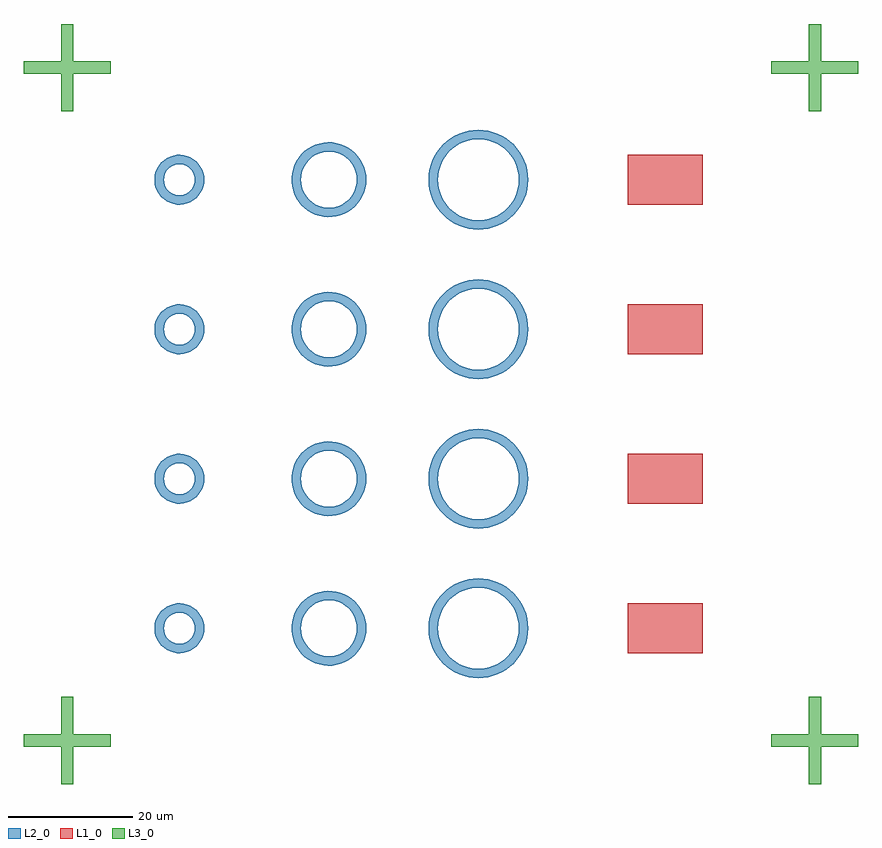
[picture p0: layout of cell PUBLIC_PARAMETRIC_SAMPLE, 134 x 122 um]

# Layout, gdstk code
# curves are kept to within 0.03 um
import gdstk
lib = gdstk.Library(unit=1e-6, precision=1e-11)
def R(c, l, rs):  # rectangles x0, y0, x1, y1
    for r in rs: c.add(gdstk.rectangle(r[:2], r[2:], *l))
def P(c, l, *ps):  # polygons
    for p in ps: c.add(gdstk.Polygon(p, *l))
L1_0 = (1, 0)
L2_0 = (2, 0)
L3_0 = (3, 0)

ring_r4 = lib.new_cell('RING_R4')
P(ring_r4, L2_0, [(0.6946,-3.9392),(1.2361,-3.8042),(1.7535,-3.5952),(2.2368,-3.3161),(2.6765,-2.9726),(3.0642,-2.5711),(3.3922,-2.1197),(3.6542,-1.6269),(3.845,-1.1025),(3.9611,-0.5567),(4,0),(3.9611,0.5567),(3.845,1.1025),(3.6542,1.6269),(3.3922,2.1197),(3.0642,2.5711),(2.6765,2.9726),(2.2368,3.3161),(1.7535,3.5952),(1.2361,3.8042),(0.6946,3.9392),(0.1396,3.9976),(-0.4181,3.9781),(-0.9677,3.8812),(-1.4984,3.7087),(-2,3.4641),(-2.4627,3.152),(-2.8774,2.7786),(-3.2361,2.3511),(-3.5318,1.8779),(-3.7588,1.3681),(-3.9126,0.8316),(-3.9903,0),(-2.5,0),(-2.462,0.4341),(-2.3492,0.855),(-2.1651,1.25),(-1.9151,1.607),(-1.607,1.9151),(-1.25,2.1651),(-0.855,2.3492),(-0.4341,2.462),(0,2.5),(0.4341,2.462),(0.855,2.3492),(1.25,2.1651),(1.607,1.9151),(1.9151,1.607),(2.1651,1.25),(2.3492,0.855),(2.462,0.4341),(2.5,0),(2.462,-0.4341),(2.3492,-0.855),(2.1651,-1.25),(1.9151,-1.607),(1.607,-1.9151),(1.25,-2.1651),(0.855,-2.3492),(0.4341,-2.462),(0,-2.5),(-0.4341,-2.462),(-0.855,-2.3492),(-1.25,-2.1651),(-1.607,-1.9151),(-1.9151,-1.607),(-2.1651,-1.25),(-2.3492,-0.855),(-2.462,-0.4341),(-2.5,0),(-3.9903,0),(-3.9903,-0.279),(-3.9126,-0.8316),(-3.7588,-1.3681),(-3.5318,-1.8779),(-3.2361,-2.3511),(-2.8774,-2.7786),(-2.4627,-3.152),(-2,-3.4641),(-1.4984,-3.7087),(-0.9677,-3.8812),(-0.4181,-3.9781),(0.1396,-3.9976)])

ring_r6 = lib.new_cell('RING_R6')
P(ring_r6, L2_0, [(0.5134,-5.978),(1.1915,-5.8805),(1.8541,-5.7063),(2.4925,-5.4578),(3.0984,-5.1381),(3.6639,-4.7514),(4.1816,-4.3028),(4.6448,-3.7981),(5.0475,-3.2438),(5.3844,-2.6473),(5.6511,-2.0163),(5.8441,-1.359),(5.9609,-0.6839),(6,0),(5.9609,0.6839),(5.8441,1.359),(5.6511,2.0163),(5.3844,2.6473),(5.0475,3.2438),(4.6448,3.7981),(4.1816,4.3028),(3.6639,4.7514),(3.0984,5.1381),(2.4925,5.4578),(1.8541,5.7063),(1.1915,5.8805),(0.5134,5.978),(-0.1713,5.9975),(-0.8539,5.9389),(-1.5253,5.8029),(-2.1768,5.5912),(-2.8,5.3066),(-3.3867,4.9528),(-3.9292,4.5345),(-4.4204,4.057),(-4.8541,3.5267),(-5.2245,2.9504),(-5.5267,2.3356),(-5.757,1.6904),(-5.9121,1.0231),(-5.9902,0),(-4.5,0),(-4.4615,0.5874),(-4.3467,1.1647),(-4.1575,1.7221),(-3.8971,2.25),(-3.5701,2.7394),(-3.182,3.182),(-2.7394,3.5701),(-2.25,3.8971),(-1.7221,4.1575),(-1.1647,4.3467),(-0.5874,4.4615),(0,4.5),(0.5874,4.4615),(1.1647,4.3467),(1.7221,4.1575),(2.25,3.8971),(2.7394,3.5701),(3.182,3.182),(3.5701,2.7394),(3.8971,2.25),(4.1575,1.7221),(4.3467,1.1647),(4.4615,0.5874),(4.5,0),(4.4615,-0.5874),(4.3467,-1.1647),(4.1575,-1.7221),(3.8971,-2.25),(3.5701,-2.7394),(3.182,-3.182),(2.7394,-3.5701),(2.25,-3.8971),(1.7221,-4.1575),(1.1647,-4.3467),(0.5874,-4.4615),(0,-4.5),(-0.5874,-4.4615),(-1.1647,-4.3467),(-1.7221,-4.1575),(-2.25,-3.8971),(-2.7394,-3.5701),(-3.182,-3.182),(-3.5701,-2.7394),(-3.8971,-2.25),(-4.1575,-1.7221),(-4.3467,-1.1647),(-4.4615,-0.5874),(-4.5,0),(-5.9902,0),(-5.9121,-1.0231),(-5.757,-1.6904),(-5.5267,-2.3356),(-5.2245,-2.9504),(-4.8541,-3.5267),(-4.4204,-4.057),(-3.9292,-4.5345),(-3.3867,-4.9528),(-2.8,-5.3066),(-2.1768,-5.5912),(-1.5253,-5.8029),(-0.8539,-5.9389),(-0.1713,-5.9975)])

ring_r8 = lib.new_cell('RING_R8')
P(ring_r8, L2_0, [(0.7841,-7.9615),(1.5607,-7.8463),(2.3223,-7.6555),(3.0615,-7.391),(3.7712,-7.0554),(4.4446,-6.6518),(5.0751,-6.1841),(5.6568,-5.6568),(6.1841,-5.0751),(6.6518,-4.4446),(7.0554,-3.7712),(7.391,-3.0615),(7.6555,-2.3223),(7.8463,-1.5607),(7.9615,-0.7841),(8,0),(7.9615,0.7841),(7.8463,1.5607),(7.6555,2.3223),(7.391,3.0615),(7.0554,3.7712),(6.6518,4.4446),(6.1841,5.0751),(5.6568,5.6568),(5.0751,6.1841),(4.4446,6.6518),(3.7712,7.0554),(3.0615,7.391),(2.3223,7.6555),(1.5607,7.8463),(0.7841,7.9615),(0,8),(-0.7841,7.9615),(-1.5607,7.8463),(-2.3223,7.6555),(-3.0615,7.391),(-3.7712,7.0554),(-4.4446,6.6518),(-5.0751,6.1841),(-5.6568,5.6568),(-6.1841,5.0751),(-6.6518,4.4446),(-7.0554,3.7712),(-7.391,3.0615),(-7.6555,2.3223),(-7.8463,1.5607),(-7.9615,0.7841),(-8,0),(-6.5,0),(-6.4619,0.7028),(-6.348,1.3973),(-6.1597,2.0755),(-5.8992,2.7293),(-5.5696,3.3511),(-5.1746,3.9336),(-4.719,4.47),(-4.208,4.954),(-3.6477,5.38),(-3.0446,5.7428),(-2.4059,6.0383),(-1.7389,6.2631),(-1.0516,6.4144),(-0.3519,6.4905),(0.3519,6.4905),(1.0516,6.4144),(1.7389,6.2631),(2.4059,6.0383),(3.0446,5.7428),(3.6477,5.38),(4.208,4.954),(4.719,4.47),(5.1746,3.9336),(5.5696,3.3511),(5.8992,2.7293),(6.1597,2.0755),(6.348,1.3973),(6.4619,0.7028),(6.5,0),(6.4619,-0.7028),(6.348,-1.3973),(6.1597,-2.0755),(5.8992,-2.7293),(5.5696,-3.3511),(5.1746,-3.9336),(4.719,-4.47),(4.208,-4.954),(3.6477,-5.38),(3.0446,-5.7428),(2.4059,-6.0383),(1.7389,-6.2631),(1.0516,-6.4144),(0.3519,-6.4905),(-0.3519,-6.4905),(-1.0516,-6.4144),(-1.7389,-6.2631),(-2.4059,-6.0383),(-3.0446,-5.7428),(-3.6477,-5.38),(-4.208,-4.954),(-4.719,-4.47),(-5.1746,-3.9336),(-5.5696,-3.3511),(-5.8992,-2.7293),(-6.1597,-2.0755),(-6.348,-1.3973),(-6.4619,-0.7028),(-6.5,0),(-8,0),(-7.9615,-0.7841),(-7.8463,-1.5607),(-7.6555,-2.3223),(-7.391,-3.0615),(-7.0554,-3.7712),(-6.6518,-4.4446),(-6.1841,-5.0751),(-5.6568,-5.6568),(-5.0751,-6.1841),(-4.4446,-6.6518),(-3.7712,-7.0554),(-3.0615,-7.391),(-2.3223,-7.6555),(-1.5607,-7.8463),(-0.7841,-7.9615),(0,-8)])

pad = lib.new_cell('PAD')
R(pad, L1_0, [(-6,-4,6,4)])

marker = lib.new_cell('MARKER')
R(marker, L3_0, [(-1,-7,1,7), (-7,-1,7,1)])

public_parametric_sample = lib.new_cell('PUBLIC_PARAMETRIC_SAMPLE')
public_parametric_sample.add(gdstk.Reference(ring_r4, (0,0)))
public_parametric_sample.add(gdstk.Reference(ring_r4, (0,24)))
public_parametric_sample.add(gdstk.Reference(ring_r4, (0,48)))
public_parametric_sample.add(gdstk.Reference(ring_r4, (0,72)))
public_parametric_sample.add(gdstk.Reference(ring_r6, (24,0)))
public_parametric_sample.add(gdstk.Reference(ring_r6, (24,24)))
public_parametric_sample.add(gdstk.Reference(ring_r6, (24,48)))
public_parametric_sample.add(gdstk.Reference(ring_r6, (24,72)))
public_parametric_sample.add(gdstk.Reference(ring_r8, (48,0)))
public_parametric_sample.add(gdstk.Reference(ring_r8, (48,24)))
public_parametric_sample.add(gdstk.Reference(ring_r8, (48,48)))
public_parametric_sample.add(gdstk.Reference(ring_r8, (48,72)))
public_parametric_sample.add(gdstk.Reference(pad, (78,0)))
public_parametric_sample.add(gdstk.Reference(pad, (78,24)))
public_parametric_sample.add(gdstk.Reference(pad, (78,48)))
public_parametric_sample.add(gdstk.Reference(pad, (78,72)))
public_parametric_sample.add(gdstk.Reference(marker, (-18,-18)))
public_parametric_sample.add(gdstk.Reference(marker, (-18,90)))
public_parametric_sample.add(gdstk.Reference(marker, (102,-18)))
public_parametric_sample.add(gdstk.Reference(marker, (102,90)))

lib.write_gds('PUBLIC_PARAMETRIC_SAMPLE.gds')
